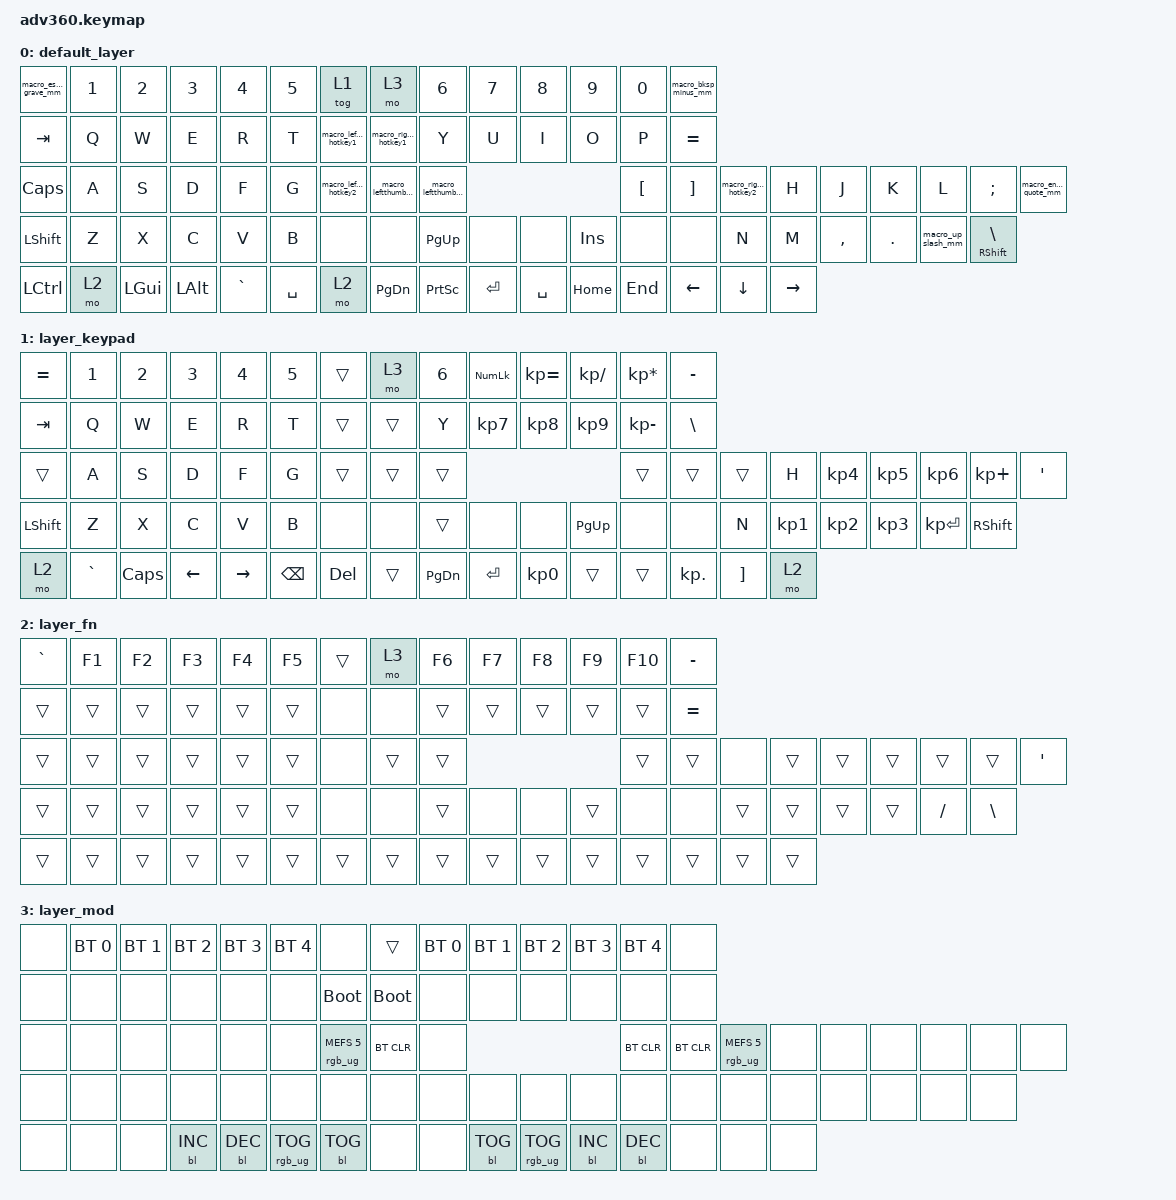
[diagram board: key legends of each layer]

/*
 * Copyright (c) 2020 The ZMK Contributors
 *
 * SPDX-License-Identifier: MIT
 */


/* THIS FILE WAS GENERATED!
 *
 * This file was generated automatically. You may or may not want to
 * edit it directly.
 */

#include <behaviors.dtsi>
#include <dt-bindings/zmk/keys.h>
#include <dt-bindings/zmk/bt.h>
#include <dt-bindings/zmk/rgb.h>
#include <dt-bindings/zmk/backlight.h>

/ {
  behaviors {
    #include "macros.dtsi"

    hm: homerow_mods {
        compatible = "zmk,behavior-hold-tap";
        label = "HOMEROW_MODS";
        #binding-cells = <2>;
        tapping-term-ms = <200>;
        quick_tap_ms = <175>;
        flavor = "tap-preferred";
        bindings = <&kp>, <&kp>;
    };
  };

    keymap {
        compatible = "zmk,keymap";


        default_layer {
            bindings = <
 &macro_escape_grave_mm  &kp N1    &kp N2    &kp N3     &kp N4     &kp N5                           &tog 1                   &mo 3                &kp N6     &kp N7     &kp N8      &kp N9    &kp N0    &macro_bksp_minus_mm
                &kp TAB   &kp Q     &kp W     &kp E      &kp R      &kp T            &macro_leftkb_hotkey1  &macro_rightkb_hotkey1                 &kp Y      &kp U      &kp I       &kp O     &kp P               &kp EQUAL
               &kp CAPS   &kp A     &kp S     &kp D      &kp F      &kp G            &macro_leftkb_hotkey2    &macro_leftthumb_hk1  &macro_leftthumb_hk2                          &kp LBKT  &kp RBKT  &macro_rightkb_hotkey2     &kp H      &kp J      &kp K    &kp L            &kp SEMI  &macro_enter_quote_mm
              &kp LSHFT   &kp Z     &kp X     &kp C      &kp V      &kp B                            &none                   &none             &kp PG_UP      &none      &none  &kp INSERT     &none                   &none     &kp N      &kp M  &kp COMMA  &kp DOT  &macro_up_slash_mm    &mt RSHFT BACKSLASH
              &kp LCTRL   &mo 2  &kp LGUI  &kp LALT  &kp GRAVE  &kp SPACE                            &mo 2               &kp PG_DN             &kp PSCRN  &kp ENTER  &kp SPACE    &kp HOME   &kp END                &kp LEFT  &kp DOWN  &kp RIGHT
            >;
        };

        layer_keypad {
            bindings = <
 &kp EQUAL     &kp N1    &kp N2    &kp N3     &kp N4    &kp N5             &trans   &mo 3     &kp N6  &kp KP_NUM  &kp KP_EQUAL  &kp KP_DIVIDE  &kp KP_MULTIPLY   &kp MINUS
   &kp TAB      &kp Q     &kp W     &kp E      &kp R     &kp T             &trans  &trans      &kp Y   &kp KP_N7     &kp KP_N8      &kp KP_N9     &kp KP_MINUS    &kp BSLH
    &trans      &kp A     &kp S     &kp D      &kp F     &kp G             &trans  &trans     &trans                                   &trans           &trans      &trans     &kp H  &kp KP_N4  &kp KP_N5  &kp KP_N6   &kp KP_PLUS    &kp SQT
 &kp LSHFT      &kp Z     &kp X     &kp C      &kp V     &kp B              &none   &none     &trans       &none         &none      &kp PG_UP            &none       &none     &kp N  &kp KP_N1  &kp KP_N2  &kp KP_N3  &kp KP_ENTER  &kp RSHFT
     &mo 2  &kp GRAVE  &kp CAPS  &kp LEFT  &kp RIGHT  &kp BSPC            &kp DEL  &trans  &kp PG_DN   &kp ENTER     &kp KP_N0         &trans           &trans  &kp KP_DOT  &kp RBKT      &mo 2
            >;
        };

        layer_fn {
            bindings = <
 &kp GRAVE  &kp F1  &kp F2  &kp F3  &kp F4  &kp F5            &trans   &mo 3  &kp F6  &kp F7  &kp F8  &kp F9  &kp F10  &kp MINUS
    &trans  &trans  &trans  &trans  &trans  &trans             &none   &none  &trans  &trans  &trans  &trans   &trans  &kp EQUAL
    &trans  &trans  &trans  &trans  &trans  &trans             &none  &trans  &trans                  &trans   &trans      &none  &trans  &trans  &trans  &trans     &trans        &kp SQT
    &trans  &trans  &trans  &trans  &trans  &trans             &none   &none  &trans   &none   &none  &trans    &none      &none  &trans  &trans  &trans  &trans  &kp SLASH  &kp BACKSLASH
    &trans  &trans  &trans  &trans  &trans  &trans            &trans  &trans  &trans  &trans  &trans  &trans   &trans     &trans  &trans  &trans
            >;
        };

        layer_mod {
            bindings = <
  &none  &bt BT_SEL 0  &bt BT_SEL 1  &bt BT_SEL 2  &bt BT_SEL 3     &bt BT_SEL 4                             &none       &trans  &bt BT_SEL 0  &bt BT_SEL 1     &bt BT_SEL 2  &bt BT_SEL 3  &bt BT_SEL 4                   &none
  &none         &none         &none         &none         &none            &none                       &bootloader  &bootloader         &none         &none            &none         &none         &none                   &none
  &none         &none         &none         &none         &none            &none            &rgb_ug RGB_MEFS_CMD 5   &bt BT_CLR         &none                                   &bt BT_CLR    &bt BT_CLR  &rgb_ug RGB_MEFS_CMD 5   &none   &none   &none   &none   &none   &none
  &none         &none         &none         &none         &none            &none                             &none        &none         &none         &none            &none         &none         &none                   &none   &none   &none   &none   &none   &none   &none
  &none         &none         &none    &bl BL_INC    &bl BL_DEC  &rgb_ug RGB_TOG                        &bl BL_TOG        &none         &none    &bl BL_TOG  &rgb_ug RGB_TOG    &bl BL_INC    &bl BL_DEC                   &none   &none   &none
            >;
        };

    };
};
